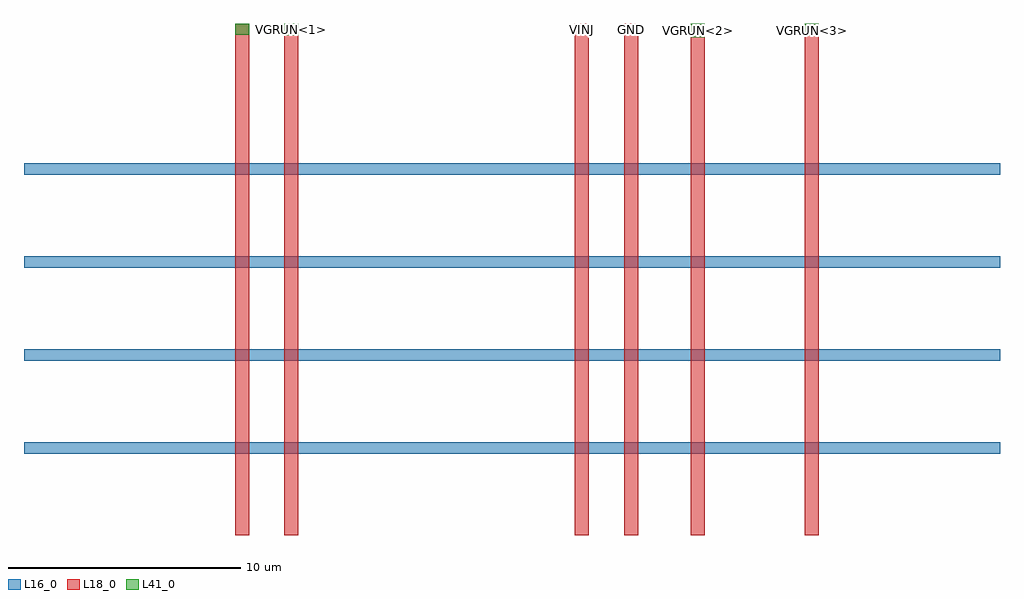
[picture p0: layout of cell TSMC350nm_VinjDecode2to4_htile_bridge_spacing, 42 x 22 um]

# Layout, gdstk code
import gdstk
lib = gdstk.Library(unit=1e-6, precision=1e-09)
def R(c, l, rs):  # rectangles x0, y0, x1, y1
    for r in rs: c.add(gdstk.rectangle(r[:2], r[2:], *l))
L16_0 = (16, 0)
L18_0 = (18, 0)
L41_0 = (41, 0)

tsmc350nm_vinjdecode2to4 = lib.new_cell('TSMC350nm_VinjDecode2to4_htile_bridge_spacing')
R(tsmc350nm_vinjdecode2to4, L41_0, [(28.7,21.42,29.3,22), (33.6,21.48,34.2,22), (11.2,21.52,11.8,22), (9.1,21.53,9.7,22)])
tsmc350nm_vinjdecode2to4.add(gdstk.FlexPath([(0,3.75),(42,3.75)], 0.5, ends="flush", simple_path=True, layer=16, datatype=0))  # L16_0
tsmc350nm_vinjdecode2to4.add(gdstk.FlexPath([(0,7.75),(42,7.75)], 0.5, ends="flush", simple_path=True, layer=16, datatype=0))  # L16_0
tsmc350nm_vinjdecode2to4.add(gdstk.FlexPath([(0,15.75),(42,15.75)], 0.5, ends="flush", simple_path=True, layer=16, datatype=0))  # L16_0
tsmc350nm_vinjdecode2to4.add(gdstk.FlexPath([(0,11.75),(42,11.75)], 0.5, ends="flush", simple_path=True, layer=16, datatype=0))  # L16_0
tsmc350nm_vinjdecode2to4.add(gdstk.FlexPath([(9.4,0),(9.4,22)], 0.6, ends="flush", simple_path=True, layer=18, datatype=0))  # L18_0
tsmc350nm_vinjdecode2to4.add(gdstk.FlexPath([(11.5,0),(11.5,22)], 0.6, ends="flush", simple_path=True, layer=18, datatype=0))  # L18_0
tsmc350nm_vinjdecode2to4.add(gdstk.FlexPath([(29,0),(29,22)], 0.6, ends="flush", simple_path=True, layer=18, datatype=0))  # L18_0
tsmc350nm_vinjdecode2to4.add(gdstk.FlexPath([(33.9,0),(33.9,22)], 0.6, ends="flush", simple_path=True, layer=18, datatype=0))  # L18_0
tsmc350nm_vinjdecode2to4.add(gdstk.FlexPath([(24,0),(24,22)], 0.6, ends="flush", simple_path=True, layer=18, datatype=0))  # L18_0
tsmc350nm_vinjdecode2to4.add(gdstk.FlexPath([(26.14,0),(26.14,22)], 0.6, ends="flush", simple_path=True, layer=18, datatype=0))  # L18_0
tsmc350nm_vinjdecode2to4.add(gdstk.Label('GND', (26.13,21.74), layer=18, texttype=0))
tsmc350nm_vinjdecode2to4.add(gdstk.Label('VINJ', (24.02,21.77), layer=18, texttype=0))
tsmc350nm_vinjdecode2to4.add(gdstk.Label('VGRUN<3>', (33.92,21.73), layer=41, texttype=0))
tsmc350nm_vinjdecode2to4.add(gdstk.Label('VGRUN<2>', (29.03,21.71), layer=41, texttype=0))
tsmc350nm_vinjdecode2to4.add(gdstk.Label('VGRUN<1>', (11.53,21.74), layer=41, texttype=0))
tsmc350nm_vinjdecode2to4.add(gdstk.Label('VGRUN<0>', (9.45,21.77), layer=41, texttype=0))

lib.write_gds('TSMC350nm_VinjDecode2to4_htile_bridge_spacing.gds')
